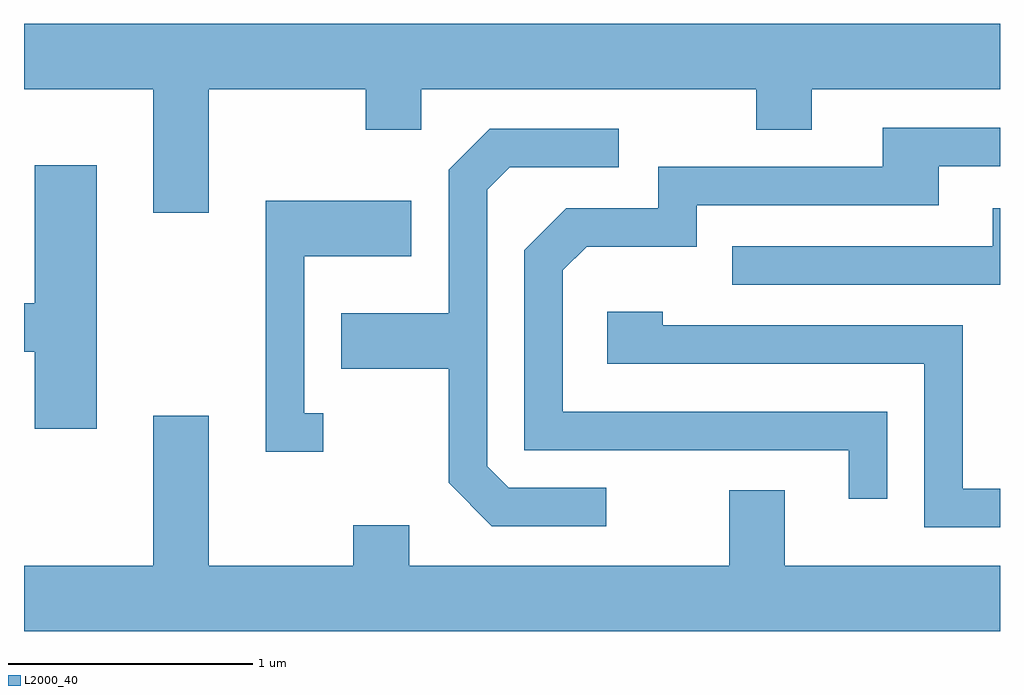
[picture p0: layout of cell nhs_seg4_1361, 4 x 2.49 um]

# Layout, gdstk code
import gdstk
lib = gdstk.Library(unit=1e-6, precision=1e-09)
def P(c, l, *ps):  # polygons
    for p in ps: c.add(gdstk.Polygon(p, *l))
L2000_40 = (2000, 40)

nhs_seg4_1361 = lib.new_cell('nhs_seg4_1361')
P(nhs_seg4_1361, L2000_40, [(226.369,1259.216),(227.011,1259.216),(227.011,1259.051),(227.239,1259.051),(227.239,1259.216),(228.611,1259.216),(228.611,1259.051),(228.839,1259.051),(228.839,1259.216),(229.611,1259.216),(229.611,1259.484),(225.611,1259.484),(225.611,1259.216),(226.141,1259.216),(226.141,1258.711),(226.369,1258.711)],
  [(229.149,1257.894),(227.819,1257.894),(227.819,1258.474),(227.917,1258.571),(228.369,1258.571),(228.369,1258.741),(229.359,1258.741),(229.359,1258.901),(229.611,1258.901),(229.611,1259.059),(229.131,1259.059),(229.131,1258.899),(228.211,1258.899),(228.211,1258.729),(227.834,1258.729),(227.661,1258.557),(227.661,1257.736),(228.991,1257.736),(228.991,1257.538),(229.149,1257.538)],
  [(227.998,1257.584),(227.597,1257.584),(227.509,1257.672),(227.509,1258.804),(227.602,1258.896),(228.048,1258.896),(228.048,1259.054),(227.519,1259.054),(227.351,1258.887),(227.351,1258.299),(226.911,1258.299),(226.911,1258.071),(227.351,1258.071),(227.351,1257.604),(227.529,1257.426),(227.998,1257.426)],
  [(225.909,1258.904),(225.656,1258.904),(225.656,1258.339),(225.611,1258.339),(225.611,1258.141),(225.656,1258.141),(225.656,1257.826),(225.909,1257.826)],
  [(226.838,1257.889),(226.759,1257.889),(226.759,1258.531),(227.199,1258.531),(227.199,1258.759),(226.601,1258.759),(226.601,1257.731),(226.838,1257.731)],
  [(229.611,1258.729),(229.581,1258.729),(229.581,1258.574),(228.513,1258.574),(228.513,1258.416),(229.611,1258.416)],
  [(229.611,1257.579),(229.459,1257.579),(229.459,1258.249),(228.229,1258.249),(228.229,1258.304),(228.001,1258.304),(228.001,1258.091),(229.301,1258.091),(229.301,1257.421),(229.611,1257.421)],
  [(229.611,1257.264),(228.729,1257.264),(228.729,1257.574),(228.501,1257.574),(228.501,1257.264),(227.189,1257.264),(227.189,1257.429),(226.961,1257.429),(226.961,1257.264),(226.369,1257.264),(226.369,1257.879),(226.141,1257.879),(226.141,1257.264),(225.611,1257.264),(225.611,1256.996),(229.611,1256.996)])

lib.write_gds('nhs_seg4_1361.gds')
